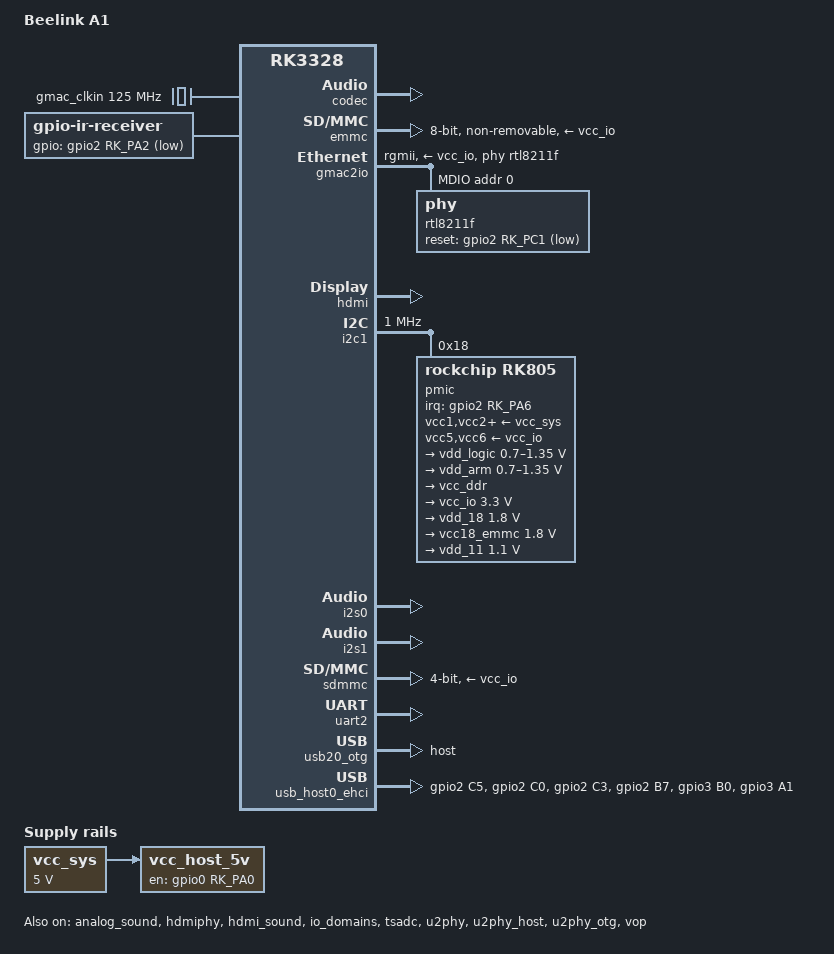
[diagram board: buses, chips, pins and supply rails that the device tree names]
// SPDX-License-Identifier: (GPL-2.0-only OR MIT)
// Copyright (c) 2017-2019 Arm Ltd.

/dts-v1/;
#include "rk3328.dtsi"

/ {
	model = "Beelink A1";
	compatible = "azw,beelink-a1", "rockchip,rk3328";

	/*
	 * UART pins, as viewed with bottom of case removed:
	 *
	 *           Front
	 *        /-------
	 *  L    / o <- Gnd
	 *  e   / o <-- Rx
	 *  f  / o <--- Tx
	 *  t / o <---- +3.3v
	 *    |
	 */
	chosen {
		stdout-path = "serial2:1500000n8";
	};

	gmac_clkin: external-gmac-clock {
		compatible = "fixed-clock";
		clock-frequency = <125000000>;
		clock-output-names = "gmac_clkin";
		#clock-cells = <0>;
	};

	vcc_host_5v: usb3-current-switch {
		compatible = "regulator-fixed";
		enable-active-high;
		gpio = <&gpio0 RK_PA0 GPIO_ACTIVE_HIGH>;
		pinctrl-names = "default";
		pinctrl-0 = <&usb30_host_drv>;
		regulator-name = "vcc_host_5v";
		vin-supply = <&vcc_sys>;
	};

	vcc_sys: vcc-sys {
		compatible = "regulator-fixed";
		regulator-name = "vcc_sys";
		regulator-min-microvolt = <5000000>;
		regulator-max-microvolt = <5000000>;
	};

	ir-receiver {
		compatible = "gpio-ir-receiver";
		gpios = <&gpio2 RK_PA2 GPIO_ACTIVE_LOW>;
		linux,rc-map-name = "rc-beelink-gs1";
	};
};

&analog_sound {
	simple-audio-card,name = "Analog A/V";
	status = "okay";
};

&codec {
	status = "okay";
};

&cpu0 {
	cpu-supply = <&vdd_arm>;
};

&cpu1 {
	cpu-supply = <&vdd_arm>;
};

&cpu2 {
	cpu-supply = <&vdd_arm>;
};

&cpu3 {
	cpu-supply = <&vdd_arm>;
};

&emmc {
	bus-width = <8>;
	cap-mmc-highspeed;
	mmc-ddr-1_8v;
	mmc-hs200-1_8v;
	no-sd;
	no-sdio;
	non-removable;
	pinctrl-names = "default";
	pinctrl-0 = <&emmc_clk &emmc_cmd &emmc_bus8>;
	vmmc-supply = <&vcc_io>;
	vqmmc-supply = <&vcc18_emmc>;
	status = "okay";
};

&gmac2io {
	assigned-clocks = <&cru SCLK_MAC2IO>, <&cru SCLK_MAC2IO_EXT>;
	assigned-clock-parents = <&gmac_clkin>, <&gmac_clkin>;
	clock_in_out = "input";
	phy-handle = <&rtl8211f>;
	phy-mode = "rgmii";
	phy-supply = <&vcc_io>;
	pinctrl-names = "default";
	pinctrl-0 = <&rgmiim1_pins>;
	snps,aal;
	snps,pbl = <0x4>;
	tx_delay = <0x26>;
	rx_delay = <0x11>;
	status = "okay";

	mdio {
		compatible = "snps,dwmac-mdio";
		#address-cells = <1>;
		#size-cells = <0>;

		rtl8211f: phy@0 {
			reg = <0>;
			reset-assert-us = <10000>;
			reset-deassert-us = <30000>;
			reset-gpios = <&gpio2 RK_PC1 GPIO_ACTIVE_LOW>;
		};
	};
};

&gpu {
	mali-supply = <&vdd_logic>;
};

&hdmi {
	status = "okay";
};

&hdmiphy {
	status = "okay";
};

&hdmi_sound {
	status = "okay";
};

&i2c1 {
	clock-frequency = <1000000>;
	i2c-scl-falling-time-ns = <5>;
	i2c-scl-rising-time-ns = <83>;
	status = "okay";

	pmic@18 {
		compatible = "rockchip,rk805";
		reg = <0x18>;
		interrupt-parent = <&gpio2>;
		interrupts = <RK_PA6 IRQ_TYPE_LEVEL_LOW>;
		pinctrl-names = "default";
		pinctrl-0 = <&pmic_int_l>;
		rockchip,system-power-controller;
		wakeup-source;

		vcc1-supply = <&vcc_sys>;
		vcc2-supply = <&vcc_sys>;
		vcc3-supply = <&vcc_sys>;
		vcc4-supply = <&vcc_sys>;
		vcc5-supply = <&vcc_io>;
		vcc6-supply = <&vcc_io>;

		regulators {
			vdd_logic: DCDC_REG1 {
				regulator-name = "vdd_logic";
				regulator-min-microvolt = <700000>;
				regulator-max-microvolt = <1350000>;
				regulator-always-on;
				regulator-boot-on;
				regulator-state-mem {
					regulator-on-in-suspend;
					regulator-suspend-microvolt = <1000000>;
				};
			};

			vdd_arm: DCDC_REG2 {
				regulator-name = "vdd_arm";
				regulator-min-microvolt = <700000>;
				regulator-max-microvolt = <1350000>;
				regulator-always-on;
				regulator-boot-on;
				regulator-state-mem {
					regulator-on-in-suspend;
					regulator-suspend-microvolt = <950000>;
				};
			};

			vcc_ddr: DCDC_REG3 {
				regulator-name = "vcc_ddr";
				regulator-always-on;
				regulator-boot-on;
				regulator-state-mem {
					regulator-on-in-suspend;
				};
			};

			vcc_io: DCDC_REG4 {
				regulator-name = "vcc_io";
				regulator-min-microvolt = <3300000>;
				regulator-max-microvolt = <3300000>;
				regulator-always-on;
				regulator-boot-on;
				regulator-state-mem {
					regulator-on-in-suspend;
					regulator-suspend-microvolt = <3300000>;
				};
			};

			vdd_18: LDO_REG1 {
				regulator-name = "vdd_18";
				regulator-min-microvolt = <1800000>;
				regulator-max-microvolt = <1800000>;
				regulator-always-on;
				regulator-boot-on;
				regulator-state-mem {
					regulator-on-in-suspend;
					regulator-suspend-microvolt = <1800000>;
				};
			};

			vcc18_emmc: LDO_REG2 {
				regulator-name = "vcc_18emmc";
				regulator-min-microvolt = <1800000>;
				regulator-max-microvolt = <1800000>;
				regulator-always-on;
				regulator-boot-on;
				regulator-state-mem {
					regulator-on-in-suspend;
					regulator-suspend-microvolt = <1800000>;
				};
			};

			vdd_11: LDO_REG3 {
				regulator-name = "vdd_11";
				regulator-min-microvolt = <1100000>;
				regulator-max-microvolt = <1100000>;
				regulator-always-on;
				regulator-boot-on;
				regulator-state-mem {
					regulator-on-in-suspend;
					regulator-suspend-microvolt = <1100000>;
				};
			};
		};
	};
};

&i2s0 {
	status = "okay";
};

&i2s1 {
	status = "okay";
};

&io_domains {
	vccio1-supply = <&vcc_io>;
	vccio2-supply = <&vcc18_emmc>;
	vccio3-supply = <&vcc_io>;
	vccio4-supply = <&vdd_18>;
	vccio5-supply = <&vcc_io>;
	vccio6-supply = <&vdd_18>;
	pmuio-supply = <&vcc_io>;
	status = "okay";
};

&pinctrl {
	pmic {
		pmic_int_l: pmic-int-l {
			rockchip,pins = <2 RK_PA6 RK_FUNC_GPIO &pcfg_pull_up>;
		};
	};

	usb3 {
		usb30_host_drv: usb30-host-drv {
			rockchip,pins = <0 RK_PA0 RK_FUNC_GPIO &pcfg_pull_none>;
		};
	};

	wifi {
		bt_dis: bt-dis {
			rockchip,pins = <2 RK_PC5 RK_FUNC_GPIO &pcfg_output_low>;
		};

		bt_wake_host: bt-wake-host {
			rockchip,pins = <2 RK_PC0 RK_FUNC_GPIO &pcfg_pull_up>;
		};

		chip_en: chip-en {
			rockchip,pins = <2 RK_PC3 RK_FUNC_GPIO &pcfg_output_low>;
		};

		host_wake_bt: host-wake-bt {
			rockchip,pins = <2 RK_PB7 RK_FUNC_GPIO &pcfg_output_high>;
		};

		wl_dis: wl-dis {
			rockchip,pins = <3 RK_PB0 RK_FUNC_GPIO &pcfg_output_low>;
		};

		wl_wake_host: wl-wake-host {
			rockchip,pins = <3 RK_PA1 RK_FUNC_GPIO &pcfg_pull_up>;
		};
	};
};

&sdmmc {
	bus-width = <4>;
	cap-mmc-highspeed;
	cap-sd-highspeed;
	disable-wp;
	pinctrl-names = "default";
	pinctrl-0 = <&sdmmc0_clk &sdmmc0_cmd &sdmmc0_dectn &sdmmc0_bus4>;
	vmmc-supply = <&vcc_io>;
	vqmmc-supply = <&vcc_io>;
	status = "okay";
};

&tsadc {
	rockchip,hw-tshut-mode = <0>;
	rockchip,hw-tshut-polarity = <0>;
	status = "okay";
};

&uart2 {
	status = "okay";
};

&u2phy {
	status = "okay";
};

&u2phy_host {
	status = "okay";
};

&u2phy_otg {
	status = "okay";
};

&usb20_otg {
	dr_mode = "host";
	status = "okay";
};

&usb_host0_ehci {
	pinctrl-names = "default";
	pinctrl-0 = <&bt_dis &bt_wake_host &chip_en &host_wake_bt &wl_dis &wl_wake_host>;
	status = "okay";
};

&vop {
	status = "okay";
};

&vop_mmu {
	status = "okay";
};
